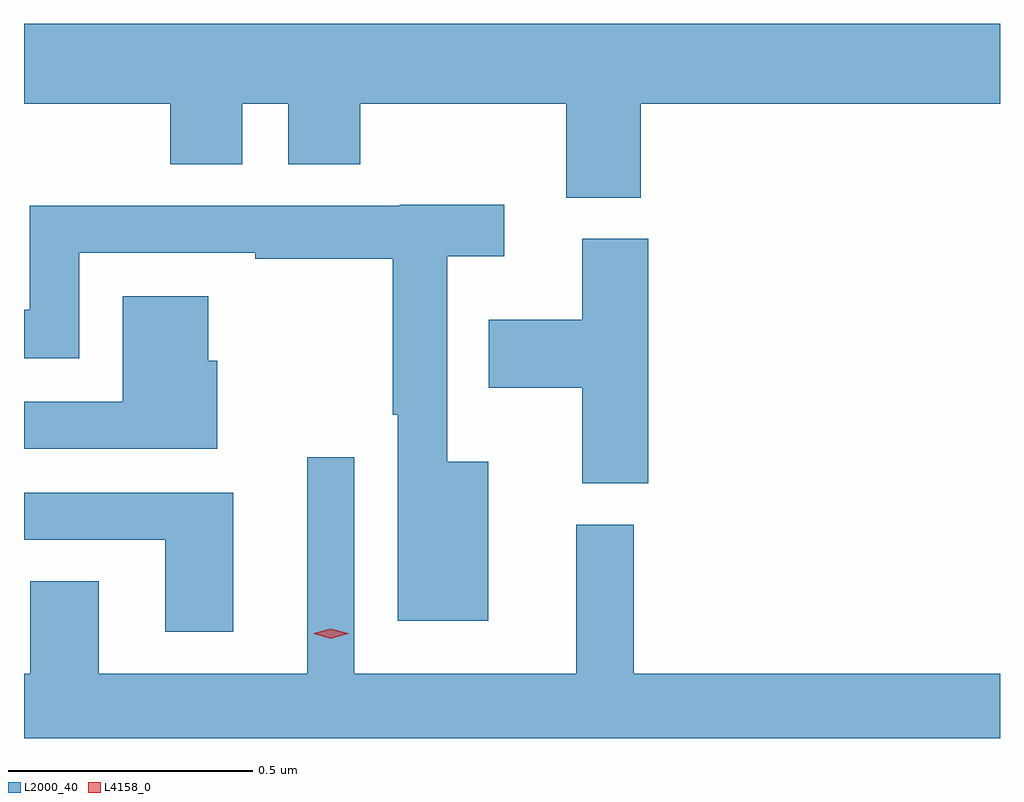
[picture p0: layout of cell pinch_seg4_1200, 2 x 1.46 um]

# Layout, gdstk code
import gdstk
lib = gdstk.Library(unit=1e-6, precision=1e-09)
def P(c, l, *ps):  # polygons
    for p in ps: c.add(gdstk.Polygon(p, *l))
L2000_40 = (2000, 40)
L4158_0 = (4158, 0)

pinch_seg4_1200 = lib.new_cell('pinch_seg4_1200')
P(pinch_seg4_1200, L2000_40, [(410.792,750.2),(411.528,750.2),(411.528,750.364),(409.528,750.364),(409.528,750.2),(409.828,750.2),(409.828,750.076),(409.975,750.076),(409.975,750.2),(410.069,750.2),(410.069,750.076),(410.217,750.076),(410.217,750.2),(410.639,750.2),(410.639,750.008),(410.792,750.008)],
  [(410.479,749.467),(410.395,749.467),(410.395,749.888),(410.512,749.888),(410.512,749.993),(410.298,749.993),(410.298,749.991),(409.54,749.991),(409.54,749.778),(409.528,749.778),(409.528,749.679),(409.641,749.679),(409.641,749.895),(410.002,749.895),(410.002,749.883),(410.284,749.883),(410.284,749.563),(410.294,749.563),(410.294,749.141),(410.479,749.141)],
  [(410.807,749.923),(410.672,749.923),(410.672,749.758),(410.48,749.758),(410.48,749.618),(410.672,749.618),(410.672,749.422),(410.807,749.422)],
  [(409.924,749.673),(409.906,749.673),(409.906,749.806),(409.73,749.806),(409.73,749.589),(409.528,749.589),(409.528,749.493),(409.924,749.493)],
  [(411.528,749.032),(410.777,749.032),(410.777,749.337),(410.66,749.337),(410.66,749.032),(410.205,749.032),(410.205,749.476),(410.108,749.476),(410.108,749.032),(409.681,749.032),(409.681,749.222),(409.541,749.222),(409.541,749.032),(409.528,749.032),(409.528,748.9),(411.528,748.9)],
  [(409.957,749.403),(409.528,749.403),(409.528,749.307),(409.817,749.307),(409.817,749.118),(409.957,749.118)])
P(pinch_seg4_1200, L4158_0, [(410.157,749.104),(410.122,749.114),(410.122,749.114),(410.122,749.115),(410.157,749.124),(410.192,749.115),(410.193,749.114),(410.192,749.114)])

lib.write_gds('pinch_seg4_1200.gds')
